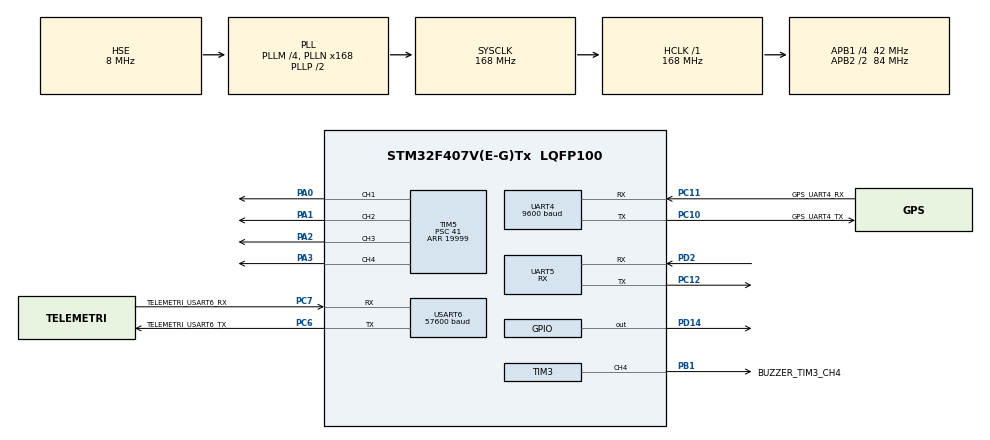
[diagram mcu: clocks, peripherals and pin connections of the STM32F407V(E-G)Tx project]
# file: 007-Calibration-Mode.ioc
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Mcu.Family=STM32F4
Mcu.Name=STM32F407V(E-G)Tx
Mcu.Package=LQFP100
NVIC.PriorityGroup=NVIC_PRIORITYGROUP_4
NVIC.UART4_IRQn=true\:0\:0\:false\:false\:true\:true\:true\:true
NVIC.UART5_IRQn=true\:0\:0\:false\:false\:true\:true\:true\:true
NVIC.USART6_IRQn=true\:0\:0\:false\:false\:true\:true\:true\:true
PA0-WKUP.Signal=S_TIM5_CH1
PA1.Signal=S_TIM5_CH2
PA2.Signal=S_TIM5_CH3
PA3.Signal=S_TIM5_CH4
PB1.GPIO_Label=BUZZER_TIM3_CH4
PB1.Signal=S_TIM3_CH4
PC10.GPIO_Label=GPS_UART4_TX
PC10.Mode=Asynchronous
PC10.Signal=UART4_TX
PC11.GPIO_Label=GPS_UART4_RX
PC11.Mode=Asynchronous
PC11.Signal=UART4_RX
PC12.Mode=Asynchronous
PC12.Signal=UART5_TX
PC6.GPIO_Label=TELEMETRI_USART6_TX
PC6.Mode=Asynchronous
PC6.Signal=USART6_TX
PC7.GPIO_Label=TELEMETRI_USART6_RX
PC7.Mode=Asynchronous
PC7.Signal=USART6_RX
PD14.Signal=GPIO_Output
PD2.Mode=Asynchronous
PD2.Signal=UART5_RX
PH0-OSC_IN.Mode=HSE-External-Oscillator
PH0-OSC_IN.Signal=RCC_OSC_IN
PH1-OSC_OUT.Mode=HSE-External-Oscillator
PH1-OSC_OUT.Signal=RCC_OSC_OUT
ProjectManager.HeapSize=0x200
ProjectManager.StackSize=0x400
ProjectManager.TargetToolchain=STM32CubeIDE
RCC.48MHZClocksFreq_Value=84000000
RCC.AHBFreq_Value=168000000
RCC.APB1CLKDivider=RCC_HCLK_DIV4
RCC.APB1Freq_Value=42000000
RCC.APB1TimFreq_Value=84000000
RCC.APB2CLKDivider=RCC_HCLK_DIV2
RCC.APB2Freq_Value=84000000
RCC.APB2TimFreq_Value=168000000
RCC.CortexFreq_Value=168000000
RCC.HCLKFreq_Value=168000000
RCC.HSE_VALUE=8000000
RCC.HSI_VALUE=16000000
RCC.LSE_VALUE=32768
RCC.PLLM=4
RCC.PLLN=168
RCC.PLLSourceVirtual=RCC_PLLSOURCE_HSE
RCC.SYSCLKFreq_VALUE=168000000
RCC.SYSCLKSource=RCC_SYSCLKSOURCE_PLLCLK
RCC.VCOOutputFreq_Value=336000000
SH.S_TIM3_CH4.0=TIM3_CH4,PWM Generation4 CH4
SH.S_TIM5_CH1.0=TIM5_CH1,PWM Generation1 CH1
SH.S_TIM5_CH2.0=TIM5_CH2,PWM Generation2 CH2
SH.S_TIM5_CH3.0=TIM5_CH3,PWM Generation3 CH3
SH.S_TIM5_CH4.0=TIM5_CH4,PWM Generation4 CH4
TIM3.AutoReloadPreload=TIM_AUTORELOAD_PRELOAD_ENABLE
TIM3.Channel-PWM\ Generation4\ CH4=TIM_CHANNEL_4
TIM3.OCFastMode_PWM-PWM\ Generation4\ CH4=TIM_OCFAST_ENABLE
TIM3.Period=20
TIM3.Prescaler=999
TIM3.Pulse-PWM\ Generation4\ CH4=10
TIM5.AutoReloadPreload=TIM_AUTORELOAD_PRELOAD_ENABLE
TIM5.Channel-PWM\ Generation1\ CH1=TIM_CHANNEL_1
TIM5.Channel-PWM\ Generation2\ CH2=TIM_CHANNEL_2
TIM5.Channel-PWM\ Generation3\ CH3=TIM_CHANNEL_3
TIM5.Channel-PWM\ Generation4\ CH4=TIM_CHANNEL_4
TIM5.OCFastMode_PWM-PWM\ Generation1\ CH1=TIM_OCFAST_ENABLE
TIM5.OCFastMode_PWM-PWM\ Generation2\ CH2=TIM_OCFAST_ENABLE
TIM5.OCFastMode_PWM-PWM\ Generation3\ CH3=TIM_OCFAST_ENABLE
TIM5.OCFastMode_PWM-PWM\ Generation4\ CH4=TIM_OCFAST_ENABLE
TIM5.Period=19999
TIM5.Prescaler=41
TIM5.Pulse-PWM\ Generation1\ CH1=0
TIM5.Pulse-PWM\ Generation2\ CH2=0
TIM5.Pulse-PWM\ Generation3\ CH3=31500
UART4.BaudRate=9600
UART4.VirtualMode=Asynchronous
UART5.Mode=MODE_RX
UART5.VirtualMode=Asynchronous
USART6.BaudRate=57600
USART6.VirtualMode=VM_ASYNC
VP_TIM3_VS_ClockSourceINT.Mode=Internal
VP_TIM5_VS_ClockSourceINT.Mode=Internal
board=custom

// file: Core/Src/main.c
/* USER CODE BEGIN Header */
/**
  ******************************************************************************
  * @file           : main.c
  * @brief          : Main program body
  ******************************************************************************
  * @attention
  *
  * <h2><center>&copy; Copyright (c) 2022 STMicroelectronics.
  * All rights reserved.</center></h2>
  *
  * This software component is licensed by ST under BSD 3-Clause license,
  * the "License"; You may not use this file except in compliance with the
  * License. You may obtain a copy of the License at:
  *                        opensource.org/licenses/BSD-3-Clause
  *
  ******************************************************************************
  */
/* USER CODE END Header */
#include "main.h"
#include "tim.h"
#include "usart.h"
#include "gpio.h"

/* USER CODE BEGIN Includes */
#include "M8N.h"
#include "FS-iA10B.h"
/* extern
 * bu, main.c'nin stm32f4xx_it.c dosyasında bildirilen iki global değişkene erişmesine izin verecektir.
 */
//telemetri
extern uint8_t uart6_rx_flag;
extern uint8_t uart6_rx_data;
//GPS
extern uint8_t m8n_rxbuff[36];
extern uint8_t m8n_rx_cplt_flag;
// kumanda receiver
extern uint8_t uart5_rx_flag;
extern uint8_t uart5_rx_data;
// kumanda receiver
extern uint8_t ibus_rxbuff[32];
extern uint8_t ibus_rx_cplt_flag;
/* extern
 * bu, main.c'nin stm32f4xx_it.c dosyasında bildirilen iki global değişkene erişmesine izin verecektir.
 */
/* USER CODE END Includes */

/* USER CODE BEGIN PTD */
int _write(int file, char* p,int len)
{
	for(int i=0;i<len;i++)
	{
		while(!LL_USART_IsActiveFlag_TXE(USART6));
		LL_USART_TransmitData8(USART6, *(p+i));
	}
}
/* USER CODE END PTD */

/* USER CODE BEGIN PV */
int Is_iBus_Throttle_Min(void);
void ESC_Calibration(void);
int Is_iBus_Received(void);

/* USER CODE END PV */

void SystemClock_Config(void);

int main(void)
{

  /* MCU Configuration--------------------------------------------------------*/

  /* Reset of all peripherals, Initializes the Flash interface and the Systick. */
  HAL_Init();

  /* Configure the system clock */
  SystemClock_Config();

  /* Initialize all configured peripherals */
  MX_GPIO_Init();
  MX_TIM3_Init();
  MX_USART6_UART_Init();
  MX_UART4_Init();
  MX_UART5_Init();
  MX_TIM5_Init();
  /* USER CODE BEGIN 2 */
  LL_TIM_EnableCounter(TIM3);

//  LL_TIM_CC_EnableChannel(TIM3,LL_TIM_CHANNEL_CH4); // buzzer enable
//  TIM3->PSC = 2000;
//  HAL_Delay(100);
//  TIM3->PSC = 1500; 							//burayı kopyaladı nedenini anlamadım
//  HAL_Delay(100);
//  TIM3->PSC = 1000;
//  HAL_Delay(100);
//
//  LL_TIM_CC_DisableChannel(TIM3,LL_TIM_CHANNEL_CH4);  // buzzer disable

  LL_USART_EnableIT_RXNE(USART6); //interrupt olarak cagiracagiz
  LL_USART_EnableIT_RXNE(UART4); //interrupt olarak cagiracagiz
  LL_USART_EnableIT_RXNE(UART5); //interrupt olarak cagiracagiz

  M8N_Initialization();

  LL_TIM_EnableCounter(TIM5);
  LL_TIM_CC_EnableChannel(TIM5,LL_TIM_CHANNEL_CH1);
  LL_TIM_CC_EnableChannel(TIM5,LL_TIM_CHANNEL_CH2);
  LL_TIM_CC_EnableChannel(TIM5,LL_TIM_CHANNEL_CH3);
  LL_TIM_CC_EnableChannel(TIM5,LL_TIM_CHANNEL_CH4);

  while(Is_iBus_Received() == 0){
	  LL_TIM_CC_EnableChannel(TIM3,LL_TIM_CHANNEL_CH4); // buzzer enable
	     TIM3->PSC = 3000;
	     HAL_Delay(200);
	     LL_TIM_CC_DisableChannel(TIM3,LL_TIM_CHANNEL_CH4);  // b
	     HAL_Delay(200);
  }

  if(iBus.SwC == 2000){
	 LL_TIM_CC_EnableChannel(TIM3,LL_TIM_CHANNEL_CH4); // buzzer enable
	 TIM3->PSC = 1500;
	 HAL_Delay(200);
	 TIM3->PSC = 2000;
	 HAL_Delay(200);
	 TIM3->PSC = 1500;
	 HAL_Delay(200);
	 TIM3->PSC = 2000;
	 HAL_Delay(200);
	 LL_TIM_CC_DisableChannel(TIM3,LL_TIM_CHANNEL_CH4);  // b
	 HAL_Delay(200);

  ESC_Calibration();
  while(iBus.SwC != 1000){
	  Is_iBus_Received();

	  LL_TIM_CC_EnableChannel(TIM3,LL_TIM_CHANNEL_CH4); // buzzer enable

	 	 TIM3->PSC = 1500;
	 	 HAL_Delay(200);
	 	 TIM3->PSC = 2000;
	 	 HAL_Delay(200);

	 	 LL_TIM_CC_DisableChannel(TIM3,LL_TIM_CHANNEL_CH4);  // b

  	  }
  }
   while(Is_iBus_Throttle_Min() == 0){
	   LL_TIM_CC_EnableChannel(TIM3,LL_TIM_CHANNEL_CH4); // buzzer enable
	 	     TIM3->PSC = 1000;
	 	     HAL_Delay(70);
	 	     LL_TIM_CC_DisableChannel(TIM3,LL_TIM_CHANNEL_CH4);  // b
	 	     HAL_Delay(70);
   }

   LL_TIM_CC_EnableChannel(TIM3,LL_TIM_CHANNEL_CH4); // buzzer enable
   TIM3->PSC = 2000;
   HAL_Delay(100);
   TIM3->PSC = 1500; 							//burayı kopyaladı nedenini anlamadım
   HAL_Delay(100);
   TIM3->PSC = 1000;
   HAL_Delay(100);

   LL_TIM_CC_DisableChannel(TIM3,LL_TIM_CHANNEL_CH4);  // buzzer disable

  /* USER CODE END 2 */

  /* Infinite loop */
  while (1)
  {

    /* USER CODE BEGIN 3 */
	 // LL_GPIO_TogglePin(GPIOD, LL_GPIO_PIN_14 | LL_GPIO_PIN_15);
	 // LL_USART_TransmitData8(USART6, 'A');
	  //HAL_Delay(1000);
/*
	  if(uart5_rx_flag == 1)
	 	  {
	 		  uart5_rx_flag = 0;
	 		  LL_USART_TransmitData8(USART6, uart5_rx_data); //alınan verilerin doğru olup olmadığını kontrol etmek için pc'ye geri gönderelim
	 	  }
	 	  */
	  /*

	  if(uart6_rx_flag == 1)
	  {
		  uart6_rx_flag = 0;
		  LL_USART_TransmitData8(USART6, uart6_rx_data); //alınan verilerin doğru olup olmadığını kontrol etmek için pc'ye geri gönderelim
	  }

	  */

	  /*
	  if(m8n_rx_cplt_flag == 1)
	  {
		  m8n_rx_cplt_flag = 0;

		  if(M8N_UBX_CHKSUM_Check(&m8n_rxbuff[0],36)==1)
		  {
			  LL_GPIO_TogglePin(GPIOD, LL_GPIO_PIN_14);
			  M8N_UBX_NAV_POSLLH_Parsing(&m8n_rxbuff[0],&posllh);
			  //printf(" LAT: %d\t\n LON:%d\t\n Height: %d\n",posllh.lat,posllh.lon,posllh.height);
			  printf(" LAT: %d\t\n LON:%d\t\n Height: %d\n",posllh.lat,posllh.lon,posllh.height);
			  //printf("LAT: %d\t",posllh.lat);

		  }

	  }

	  */

	  if(ibus_rx_cplt_flag == 1)
	  	  {
	  		  ibus_rx_cplt_flag = 0;
	  		  if(iBus_Check_CHKSUM(&ibus_rxbuff[0],32)==1)
	  		  {
	  			LL_GPIO_TogglePin(GPIOD, LL_GPIO_PIN_14);
	  			iBus_Parsing(&ibus_rxbuff[0], &iBus);
	  			if(iBus_isActiveFailSafe(&iBus) ==1)
	  			{
	  				LL_TIM_CC_EnableChannel(TIM3,LL_TIM_CHANNEL_CH4);
	  			}
	  			else
	  			{
	  				LL_TIM_CC_DisableChannel(TIM3,LL_TIM_CHANNEL_CH4);
	  			}
//	  			printf("%d\t %d\t %d\t %d\t %d\t %d\n",
//	  					iBus.RH,iBus.RV,iBus.LV,iBus.LH,iBus.SwA,iBus.SwC);
//	  			HAL_Delay(100);
	  		  }

	  	  }

	  TIM5->CCR1 = 1000 ;
	  TIM5->CCR2 = 1000 ;
	  TIM5->CCR3 = 1000 ;
	  TIM5->CCR4 = 1000 ;

//	  switch (uart6_rx_data) {
//		case '0': LL_GPIO_TogglePin(GPIOD, LL_GPIO_PIN_14 | LL_GPIO_PIN_15); break;
//		case '1':  LL_TIM_CC_EnableChannel(TIM3,LL_TIM_CHANNEL_CH4); break;
//		case '2':LL_TIM_CC_DisableChannel(TIM3,LL_TIM_CHANNEL_CH4); break;
//		default:
//			break;
//	}

//	  tim5_ccr4 +=10;
//	  	  	  if(tim5_ccr4>21000)tim5_ccr4 = 10500;      //siliyoruz calibrasyon yapmak için
//	  	  	  TIM5->CCR4 =tim5_ccr4;
//	  	  	  HAL_Delay(1);

  }
  /* USER CODE END 3 */
}

void SystemClock_Config(void)
{
  RCC_OscInitTypeDef RCC_OscInitStruct = {0};
  RCC_ClkInitTypeDef RCC_ClkInitStruct = {0};

  /** Configure the main internal regulator output voltage
  */
  __HAL_RCC_PWR_CLK_ENABLE();
  __HAL_PWR_VOLTAGESCALING_CONFIG(PWR_REGULATOR_VOLTAGE_SCALE1);

  /** Initializes the RCC Oscillators according to the specified parameters
  * in the RCC_OscInitTypeDef structure.
  */
  RCC_OscInitStruct.OscillatorType = RCC_OSCILLATORTYPE_HSE;
  RCC_OscInitStruct.HSEState = RCC_HSE_ON;
  RCC_OscInitStruct.PLL.PLLState = RCC_PLL_ON;
  RCC_OscInitStruct.PLL.PLLSource = RCC_PLLSOURCE_HSE;
  RCC_OscInitStruct.PLL.PLLM = 4;
  RCC_OscInitStruct.PLL.PLLN = 168;
  RCC_OscInitStruct.PLL.PLLP = RCC_PLLP_DIV2;
  RCC_OscInitStruct.PLL.PLLQ = 4;
  if (HAL_RCC_OscConfig(&RCC_OscInitStruct) != HAL_OK)
  {
    Error_Handler();
  }

  /** Initializes the CPU, AHB and APB buses clocks
  */
  RCC_ClkInitStruct.ClockType = RCC_CLOCKTYPE_HCLK|RCC_CLOCKTYPE_SYSCLK
                              |RCC_CLOCKTYPE_PCLK1|RCC_CLOCKTYPE_PCLK2;
  RCC_ClkInitStruct.SYSCLKSource = RCC_SYSCLKSOURCE_PLLCLK;
  RCC_ClkInitStruct.AHBCLKDivider = RCC_SYSCLK_DIV1;
  RCC_ClkInitStruct.APB1CLKDivider = RCC_HCLK_DIV4;
  RCC_ClkInitStruct.APB2CLKDivider = RCC_HCLK_DIV2;

  if (HAL_RCC_ClockConfig(&RCC_ClkInitStruct, FLASH_LATENCY_5) != HAL_OK)
  {
    Error_Handler();
  }
}

/* USER CODE BEGIN 4 */
int Is_iBus_Throttle_Min(void){

	  if(ibus_rx_cplt_flag == 1)
		  	  {
		  		  ibus_rx_cplt_flag = 0;
		  		  if(iBus_Check_CHKSUM(&ibus_rxbuff[0],32)==1)
		  		  {
		  				iBus_Parsing(&ibus_rxbuff[0], &iBus);
		  				if(iBus.LV < 1010) return 1;

		  		  }

		  	  }
	  return 0;
}

void ESC_Calibration(void){

	  TIM5->CCR1 = 2000;
	  TIM5->CCR2 = 2000;
	  TIM5->CCR3 = 2000;
	  TIM5->CCR4 = 2000;
	  HAL_Delay(7000);

	  TIM5->CCR1 = 1000;
	  TIM5->CCR2 = 1000;
	  TIM5->CCR3 = 1000;
	  TIM5->CCR4 = 1000;
	   HAL_Delay(8000);
}

int Is_iBus_Received(void){
	if(ibus_rx_cplt_flag == 1)
			  	  {
			  		  ibus_rx_cplt_flag = 0;
			  		  if(iBus_Check_CHKSUM(&ibus_rxbuff[0],32)==1)
			  		  {
			  				iBus_Parsing(&ibus_rxbuff[0], &iBus);
			  				return 1;
			  		  }

			  	  }
		  return 0;
}

/* USER CODE END 4 */

void Error_Handler(void)
{
  __disable_irq();
  while (1)
  {
  }
}
